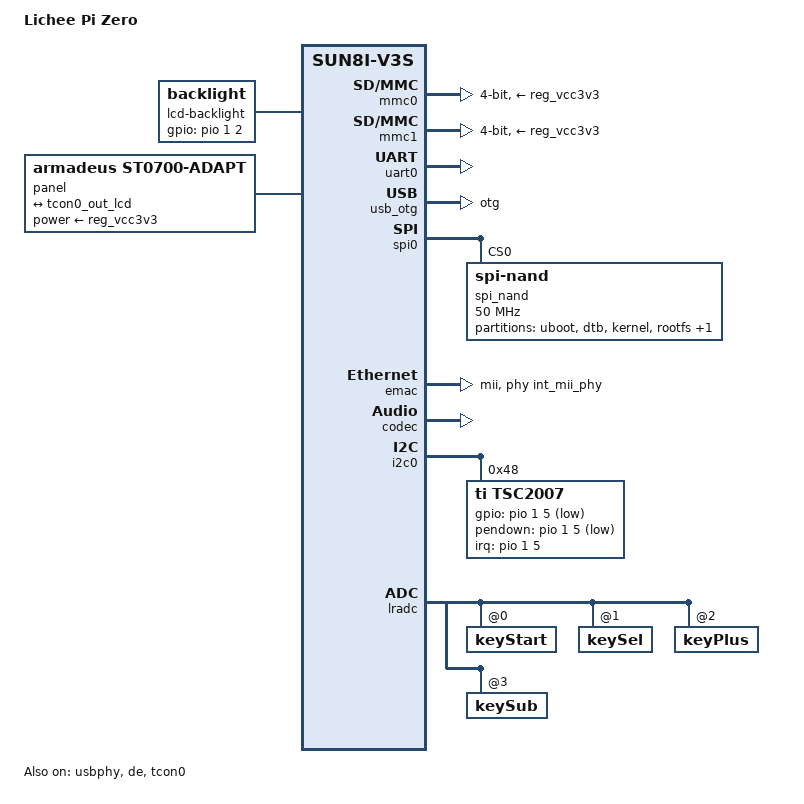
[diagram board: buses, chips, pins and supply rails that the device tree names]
/*
 * Copyright (C) 2016 Icenowy Zheng <icenowy@aosc.xyz>
 *
 * This file is dual-licensed: you can use it either under the terms
 * of the GPL or the X11 license, at your option. Note that this dual
 * licensing only applies to this file, and not this project as a
 * whole.
 *
 *  a) This file is free software; you can redistribute it and/or
 *     modify it under the terms of the GNU General Public License as
 *     published by the Free Software Foundation; either version 2 of the
 *     License, or (at your option) any later version.
 *
 *     This file is distributed in the hope that it will be useful,
 *     but WITHOUT ANY WARRANTY; without even the implied warranty of
 *     MERCHANTABILITY or FITNESS FOR A PARTICULAR PURPOSE.  See the
 *     GNU General Public License for more details.
 *
 * Or, alternatively,
 *
 *  b) Permission is hereby granted, free of charge, to any person
 *     obtaining a copy of this software and associated documentation
 *     files (the "Software"), to deal in the Software without
 *     restriction, including without limitation the rights to use,
 *     copy, modify, merge, publish, distribute, sublicense, and/or
 *     sell copies of the Software, and to permit persons to whom the
 *     Software is furnished to do so, subject to the following
 *     conditions:
 *
 *     The above copyright notice and this permission notice shall be
 *     included in all copies or substantial portions of the Software.
 *
 *     THE SOFTWARE IS PROVIDED "AS IS", WITHOUT WARRANTY OF ANY KIND,
 *     EXPRESS OR IMPLIED, INCLUDING BUT NOT LIMITED TO THE WARRANTIES
 *     OF MERCHANTABILITY, FITNESS FOR A PARTICULAR PURPOSE AND
 *     NONINFRINGEMENT. IN NO EVENT SHALL THE AUTHORS OR COPYRIGHT
 *     HOLDERS BE LIABLE FOR ANY CLAIM, DAMAGES OR OTHER LIABILITY,
 *     WHETHER IN AN ACTION OF CONTRACT, TORT OR OTHERWISE, ARISING
 *     FROM, OUT OF OR IN CONNECTION WITH THE SOFTWARE OR THE USE OR
 *     OTHER DEALINGS IN THE SOFTWARE.
 */

/dts-v1/;
#include "sun8i-v3s.dtsi"
#include "sunxi-common-regulators.dtsi"
#include <dt-bindings/input/linux-event-codes.h>

/ {
	model = "Lichee Pi Zero";
	compatible = "licheepi,licheepi-zero", "allwinner,sun8i-v3s";

	aliases {
		serial0 = &uart0;
        ethernet0 = &emac;
	};

    chosen {
		bootargs = "console=ttyS0,115200 rootwait mtdparts=spi0.0:1M(uboot)ro,128k(dtb)ro,6M(kernel)ro,20M(rootfs),-(user) ubi.mtd=3 root=ubi0:rootfs rw rootfstype=ubifs";
	};


	// leds {
	// 	compatible = "gpio-leds";

	// 	blue_led {
	// 		label = "licheepi:blue:usr";
	// 		gpios = <&pio 6 1 GPIO_ACTIVE_LOW>; /* PG1 */
	// 	};

	// 	green_led {
	// 		label = "licheepi:green:usr";
	// 		gpios = <&pio 6 0 GPIO_ACTIVE_LOW>; /* PG0 */
	// 		default-state = "on";
	// 	};

	// 	red_led {
	// 		label = "licheepi:red:usr";
	// 		gpios = <&pio 6 2 GPIO_ACTIVE_LOW>; /* PG2 */
	// 	};
	// };

    lcd-backlight {
        compatible = "backlight", "gpio-backlight";
        gpios = <&pio 1 2 GPIO_ACTIVE_HIGH>;
        default-on;
        status = "okay";
    };

	panel: panel {
		#address-cells = <1>;
		#size-cells = <0>;
        compatible = "armadeus,st0700-adapt", "panel-simple";
        power-supply = <&reg_vcc3v3>;


		port@0 {
			reg = <0>;
			// backlight = <&backlight>;
			#address-cells = <1>;
			#size-cells = <0>;

			panel_input: endpoint@0 {
				reg = <0>;
				remote-endpoint = <&tcon0_out_lcd>;
			};
		};
	};
};

&mmc0 {
	broken-cd;
	bus-width = <4>;
	vmmc-supply = <&reg_vcc3v3>;
	status = "okay";
};

&mmc1 {
	broken-cd;
	bus-width = <4>;
	vmmc-supply = <&reg_vcc3v3>;
	status = "okay";
};

&uart0 {
	pinctrl-0 = <&uart0_pb_pins>;
	pinctrl-names = "default";
	status = "okay";
};

&usb_otg {
	dr_mode = "otg";
	status = "okay";
};

&usbphy {
	usb0_id_det-gpios = <&pio 5 6 GPIO_ACTIVE_HIGH>;
	status = "okay";
};

&spi0 {
	status ="okay";
	
	spi_nand: spi_nand@0 {
        #address-cells = <1>;
        #size-cells = <1>;
        compatible = "spi-nand";
        reg = <0>;
        spi-max-frequency = <50000000>;
 
		partition@0 {
			label = "uboot";
			reg = <0x0 0x100000>;
			read-only;
		};
 
		partition@100000 {
			label = "dtb";
			reg = <0x100000 0x20000>;
			read-only;
		};
 
		partition@120000 {
			label = "kernel";
			reg = <0x120000 0x600000>;
			read-only;
		};
 
		// partition@720000 {
		// 	label = "rootfs";
		// 	reg = <0x720000 0x78E0000>;
		// };

		partition@720000 {
			label = "rootfs";
			reg = <0x720000 0x1400000>;
		};
        
		partition@F20000 {
			label = "user";
			reg = <0x1B20000 0x64E0000>;
		};
	};
};

&emac {
       phy-handle = <&int_mii_phy>;
       phy-mode = "mii";
       allwinner,leds-active-low;
       status = "okay";
};

&codec {
	allwinner,audio-routing =
		"Headphone", "HP",
		"Headphone", "HPCOM",
		"MIC1", "Mic",
		"Mic",  "HBIAS";
	status = "okay";
};

// &lcd_backlight {
//     compatible = "gpio-backlight";
//     default-on;
//     status = "okay";
//     // pinctrl-names = "default";
//     // pinctrl-0 = <&panel_backlight_pins>;
//     gpios = <&pio 4 2 GPIO_ACTIVE_HIGH>; /* PB2 */
// };

&de {
	status = "okay";
};

// &pwm {
// 	pinctrl-names = "default";
// 	pinctrl-0 = <&pwm0_pins>;
// 	status = "okay";
// };

&tcon0 {
	pinctrl-names = "default";
	pinctrl-0 = <&lcd_rgb_666_pins>;
	status = "okay";
};

&tcon0_out {
	tcon0_out_lcd: endpoint@0 {
		reg = <0>;
		remote-endpoint = <&panel_input>;
	};
};

&i2c0 {
    status = "okay";
	tsc2007@48 {
		compatible = "ti,tsc2007";
		reg = <0x48>;
		interrupt-parent = <&pio>;
		interrupts = <1 5 IRQ_TYPE_EDGE_FALLING>;
		gpios = <&pio 1 5 GPIO_ACTIVE_LOW>;
		pendown-gpio = <&pio 1 5 GPIO_ACTIVE_LOW>;
		ti,x-plate-ohms = <450>;
		wakeup-source;
	};
};

&lradc {
	status = "okay";
	compatible = "allwinner,sun8i-a83t-r-lradc";
	keyStart@0 {
		channel = <0>;
		voltage = <750000>; // 750 550 350 150
		linux,code = <KEY_1>;
	};
	keySel@1 {
		channel = <0>;
		voltage = <550000>; //550 350 150
		linux,code = <KEY_2>;
	};
	keyPlus@2 {
		channel = <0>;
		voltage = <350000>; //550 350 150
		linux,code = <KEY_3>;
	};
	keySub@3 {
		channel = <0>;
		voltage = <150000>; //550 350 150
		linux,code = <KEY_4>;
	};
};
